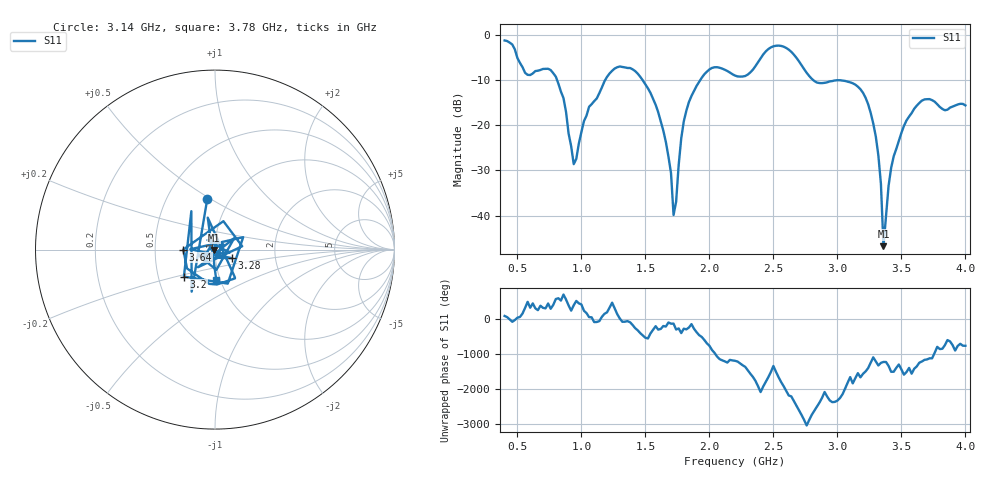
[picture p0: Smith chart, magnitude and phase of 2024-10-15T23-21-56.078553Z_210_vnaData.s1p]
! Created with skrf (http://scikit-rf.org).
# Hz S RI R 50.0
!freq ReS11 ImS11
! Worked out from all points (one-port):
!   181 points, 400 MHz to 4 GHz, reference 50 ohm
!   lowest |S11| = -46.8 dB at 3.36 GHz (marker M1), VSWR 1.01, Z = 49.6 - j0.166 ohm
!   |S11| at or under -10 dB: 810.3 MHz to 1.185 GHz (374.9 MHz wide, 37.6 % of centre); 1.479 GHz to 1.928 GHz (449 MHz wide, 26.4 % of centre); 2.812 GHz to end of sweep
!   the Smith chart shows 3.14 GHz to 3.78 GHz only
!   S11 on the Smith chart (normalised r, x): 3.14 GHz: 0.79, +0.48; 3.2 GHz: 0.68, -0.22; 3.28 GHz: 1.20, -0.12; 3.64 GHz: 0.70, +0.00; 3.78 GHz: 0.96, -0.34
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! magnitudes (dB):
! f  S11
! 400 MHz  -1.2
! 580 MHz  -8.8
! 760 MHz  -7.8
! 860 MHz  -14.0
! 940 MHz  -28.6
! 1.06 GHz  -15.9
! 1.3 GHz  -7.0
! 1.58 GHz  -15.5
! 1.68 GHz  -26.9
! 1.72 GHz  -39.9
! 1.76 GHz  -28.8
! 1.82 GHz  -16.7
! 1.92 GHz  -10.3
! 2.2 GHz  -9.0
! 2.5 GHz  -2.5
! 2.66 GHz  -4.3
! 2.84 GHz  -10.5
! 3.1 GHz  -10.5
! 3.14 GHz  -11.0
! 3.2 GHz  -12.8
! 3.28 GHz  -19.6
! 3.34 GHz  -32.9
! 3.36 GHz  -46.8
! 3.42 GHz  -29.4
! 3.56 GHz  -18.1
! 3.64 GHz  -15.0
! 3.78 GHz  -15.3
! 4 GHz  -15.6
